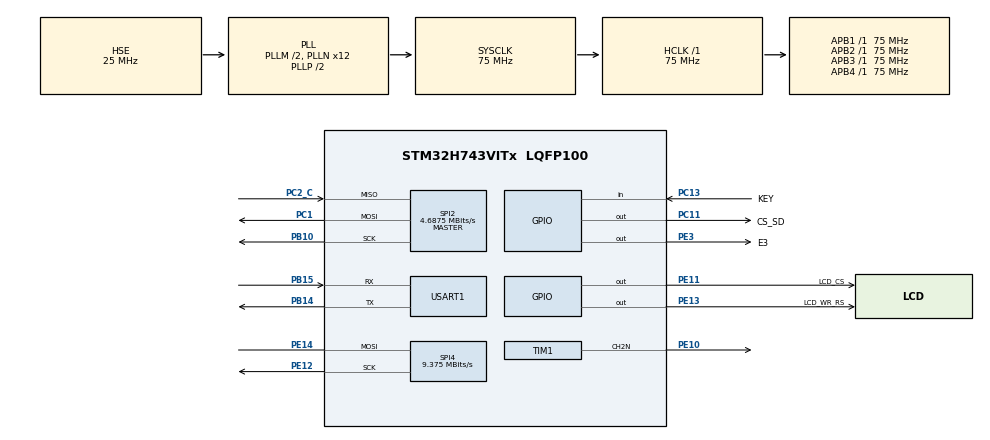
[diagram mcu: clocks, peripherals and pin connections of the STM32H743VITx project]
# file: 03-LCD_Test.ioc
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FATFS._MAX_SS=4096
FATFS._USE_LFN=1
Mcu.Family=STM32H7
Mcu.Name=STM32H743VITx
Mcu.Package=LQFP100
NVIC.PriorityGroup=NVIC_PRIORITYGROUP_4
NVIC.TIM2_IRQn=true\:0\:0\:false\:false\:true\:true\:true\:true
NVIC.USART1_IRQn=true\:0\:0\:false\:false\:true\:true\:true\:true
PA13\ (JTMS/SWDIO).Mode=Serial_Wire
PA13\ (JTMS/SWDIO).Signal=DEBUG_JTMS-SWDIO
PA14\ (JTCK/SWCLK).Mode=Serial_Wire
PA14\ (JTCK/SWCLK).Signal=DEBUG_JTCK-SWCLK
PB10.Mode=Full_Duplex_Master
PB10.Signal=SPI2_SCK
PB14.Mode=Asynchronous
PB14.Signal=USART1_TX
PB15.Mode=Asynchronous
PB15.Signal=USART1_RX
PC1.Mode=Full_Duplex_Master
PC1.Signal=SPI2_MOSI
PC11.GPIO_Label=CS_SD
PC11.GPIO_Speed=GPIO_SPEED_FREQ_MEDIUM
PC11.Signal=GPIO_Output
PC13.GPIO_Label=KEY
PC13.GPIO_PuPd=GPIO_PULLDOWN
PC13.Signal=GPIO_Input
PC14-OSC32_IN\ (OSC32_IN).Mode=LSE-External-Oscillator
PC14-OSC32_IN\ (OSC32_IN).Signal=RCC_OSC32_IN
PC15-OSC32_OUT\ (OSC32_OUT).Mode=LSE-External-Oscillator
PC15-OSC32_OUT\ (OSC32_OUT).Signal=RCC_OSC32_OUT
PC2_C.Mode=Full_Duplex_Master
PC2_C.Signal=SPI2_MISO
PE10.Mode=PWM Generation2 CH2N
PE10.Signal=TIM1_CH2N
PE11.GPIO_Label=LCD_CS
PE11.GPIO_Speed=GPIO_SPEED_FREQ_VERY_HIGH
PE11.PinState=GPIO_PIN_SET
PE11.Signal=GPIO_Output
PE12.GPIO_Speed=GPIO_SPEED_FREQ_HIGH
PE12.Mode=Simplex_Bidirectional_Master
PE12.Signal=SPI4_SCK
PE13.GPIO_Label=LCD_WR_RS
PE13.GPIO_Speed=GPIO_SPEED_FREQ_VERY_HIGH
PE13.PinState=GPIO_PIN_SET
PE13.Signal=GPIO_Output
PE14.GPIO_Speed=GPIO_SPEED_FREQ_HIGH
PE14.Mode=Simplex_Bidirectional_Master
PE14.Signal=SPI4_MOSI
PE3.GPIO_Label=E3
PE3.PinState=GPIO_PIN_RESET
PE3.Signal=GPIO_Output
PH0-OSC_IN\ (PH0).Mode=HSE-External-Oscillator
PH0-OSC_IN\ (PH0).Signal=RCC_OSC_IN
PH1-OSC_OUT\ (PH1).Mode=HSE-External-Oscillator
PH1-OSC_OUT\ (PH1).Signal=RCC_OSC_OUT
ProjectManager.HeapSize=0x200
ProjectManager.StackSize=0x400
ProjectManager.TargetToolchain=STM32CubeIDE
RCC.ADCFreq_Value=83333333.33333333
RCC.APB1Freq_Value=75000000
RCC.APB2Freq_Value=75000000
RCC.APB3Freq_Value=75000000
RCC.APB4Freq_Value=75000000
RCC.CortexFreq_Value=75000000
RCC.DIVM1=2
RCC.DIVM2=6
RCC.DIVN1=12
RCC.DIVN2=40
RCC.DIVQ2=1
RCC.HCLKFreq_Value=75000000
RCC.HSE_VALUE=25000000
RCC.PLLFRACN=0
RCC.PLLSourceVirtual=RCC_PLLSOURCE_HSE
RCC.PWR_Regulator_Voltage_Scale=PWR_REGULATOR_VOLTAGE_SCALE1
RCC.RTCClockSelection=RCC_RTCCLKSOURCE_LSE
RCC.SYSCLKFreq_VALUE=75000000
RCC.SYSCLKSource=RCC_SYSCLKSOURCE_PLLCLK
RCC.USBFreq_Value=75000000
RTC.Hours=12
RTC.Month=RTC_MONTH_JUNE
RTC.Year=20
SPI2.BaudRatePrescaler=SPI_BAUDRATEPRESCALER_16
SPI2.CalculateBaudRate=4.6875 MBits/s
SPI2.DataSize=SPI_DATASIZE_8BIT
SPI2.Direction=SPI_DIRECTION_2LINES
SPI2.Mode=SPI_MODE_MASTER
SPI2.VirtualType=VM_MASTER
SPI4.BaudRatePrescaler=SPI_BAUDRATEPRESCALER_8
SPI4.CalculateBaudRate=9.375 MBits/s
SPI4.DataSize=SPI_DATASIZE_8BIT
SPI4.Direction=SPI_DIRECTION_1LINE
SPI4.Mode=SPI_MODE_MASTER
SPI4.VirtualType=VM_MASTER
TIM1.Channel-PWM\ Generation2\ CH2N=TIM_CHANNEL_2
TIM1.OCNPolarity_2=TIM_OCNPOLARITY_LOW
TIM1.Period=1000-1
TIM1.Prescaler=12-1
TIM2.Period=10
TIM2.Prescaler=39999
USART1.VirtualMode-Asynchronous=VM_ASYNC
VP_FATFS_VS_Generic.Mode=User_defined
VP_RTC_VS_RTC_Activate.Mode=RTC_Enabled
VP_RTC_VS_RTC_Calendar.Mode=RTC_Calendar
VP_TIM2_VS_ClockSourceINT.Mode=Internal
board=custom

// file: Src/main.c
/* USER CODE BEGIN Header */
/**
  ******************************************************************************
  * @file           : main.c
  * @brief          : Main program body
  ******************************************************************************
  * @attention
  *
  * Copyright (c) 2023 STMicroelectronics.
  * All rights reserved.
  *
  * This software is licensed under terms that can be found in the LICENSE file
  * in the root directory of this software component.
  * If no LICENSE file comes with this software, it is provided AS-IS.
  *
  ******************************************************************************
  *
  * ToDo
  *
  * ---------------- jest:
  * SPI4 interfejs do LCD
  * PE12 SCK zielony
  * PE14 MOSI fioletowy
  * OLED CS: PE10 LCD_CS żółty nie jest to CS dla SPI!
  * Half Duplex -> tylko MOSI
  * ----------------
  * RS232 na USART1
  * PB14 TxD
  * PB15 RxD
  * ----------------------------------------------------
  * SPI2 - interfejs do testowania z kartą SD (urok 88):
  * --------------------------------------
  * podłączona karta SD z modułu na barana (mini stykówka z goldpinów na zewnątrz):
  * SPI2  |----------------|-> gniazdo SD|
  * PB10  |SCK zielony     -> PC12
  * PC2_C |MISO niebieski  -> PC8
  * PC1   |MOSI fioletowy  -> PD2
  * --------------------------------------
  * PC11  |CS żółty (CS_SD) niepotrzebna stykówka
  * ----------------------------------------------------
  * LED zamiast na PC13 jest na PE3 (na schemacie modułu dioda oznaczona jako E3 BLUE_LED)
  *
  */
/* USER CODE END Header */
#include "main.h"
#include "fatfs.h"
#include "rtc.h"
#include "spi.h"
#include "tim.h"
#include "usart.h"
#include "gpio.h"

/* USER CODE BEGIN Includes */
#include "lcd.h"
#include "sd.h"
/* USER CODE END Includes */

/* USER CODE BEGIN PV */
volatile uint16_t Timer1 = 0;
uint8_t sect[512];
extern char str1[60];
uint32_t byteswritten,bytesread;
uint8_t result;
extern char USER_Path[4]; /* logical drive path */
FATFS SDFatFs;
FATFS *fs;
FIL MyFile;
FRESULT fr;
FILINFO fno;

//char buffer1[512] ="Selection ... The..."; //Буфер данных для записи/чтения -> tylko do testu
/* USER CODE END PV */

void SystemClock_Config(void);

/* USER CODE BEGIN 0 */
FRESULT ReadLongFile(void)
{
  uint16_t i=0, i1=0;
  uint32_t ind=0;
  uint32_t f_size = fno.fsize;
	sprintf(str1, "fsize: %lu\r\n", (unsigned long) f_size);
	HAL_UART_Transmit(&huart1, (uint8_t*) str1, strlen(str1), 0x1000);
	ind = 0;
	do
	{
		if (f_size < 512)
		{
			i1 = f_size;
		}
		else
		{
			i1 = 512;
		}
		f_size -= i1;
		f_lseek(&MyFile, ind);
		f_read(&MyFile, sect, i1, (UINT*) &bytesread);
		for (i = 0; i < bytesread; i++)
		{
			HAL_UART_Transmit(&huart1, sect + i, 1, 0x1000);
		}
		ind += i1;
	}
	while (f_size > 0);
	HAL_UART_Transmit(&huart1, (uint8_t*) "\r\n", 2, 0x1000);
	return FR_OK;
}

static void MPU_Config(void)
{
  MPU_Region_InitTypeDef MPU_InitStruct = {0};

  /* Disables the MPU */
  HAL_MPU_Disable();

	/* Configure the MPU attributes for the QSPI 256MB without instruction access */
  MPU_InitStruct.Enable           = MPU_REGION_ENABLE;
  MPU_InitStruct.Number           = MPU_REGION_NUMBER0;
  MPU_InitStruct.BaseAddress      = QSPI_BASE;
  MPU_InitStruct.Size             = MPU_REGION_SIZE_256MB;
  MPU_InitStruct.AccessPermission = MPU_REGION_NO_ACCESS;
  MPU_InitStruct.IsBufferable     = MPU_ACCESS_NOT_BUFFERABLE;
  MPU_InitStruct.IsCacheable      = MPU_ACCESS_NOT_CACHEABLE;
  MPU_InitStruct.IsShareable      = MPU_ACCESS_NOT_SHAREABLE;
  MPU_InitStruct.DisableExec      = MPU_INSTRUCTION_ACCESS_DISABLE;
  MPU_InitStruct.TypeExtField     = MPU_TEX_LEVEL1;
  MPU_InitStruct.SubRegionDisable = 0x00;
  HAL_MPU_ConfigRegion(&MPU_InitStruct);

  /* Configure the MPU attributes for the QSPI 8MB (QSPI Flash Size) to Cacheable WT */
  MPU_InitStruct.Enable           = MPU_REGION_ENABLE;
  MPU_InitStruct.Number           = MPU_REGION_NUMBER1;
  MPU_InitStruct.BaseAddress      = QSPI_BASE;
  MPU_InitStruct.Size             = MPU_REGION_SIZE_8MB;
  MPU_InitStruct.AccessPermission = MPU_REGION_PRIV_RO;
  MPU_InitStruct.IsBufferable     = MPU_ACCESS_BUFFERABLE;
  MPU_InitStruct.IsCacheable      = MPU_ACCESS_CACHEABLE;
  MPU_InitStruct.IsShareable      = MPU_ACCESS_NOT_SHAREABLE;
  MPU_InitStruct.DisableExec      = MPU_INSTRUCTION_ACCESS_ENABLE;
  MPU_InitStruct.TypeExtField     = MPU_TEX_LEVEL1;
  MPU_InitStruct.SubRegionDisable = 0x00;
  HAL_MPU_ConfigRegion(&MPU_InitStruct);

  /* Enables the MPU */
  HAL_MPU_Enable(MPU_PRIVILEGED_DEFAULT);
}

static void CPU_CACHE_Enable(void)
{
  /* Enable I-Cache */
  SCB_EnableICache();

  /* Enable D-Cache */
  SCB_EnableDCache();
}

static void LED_Blink(uint32_t Hdelay,uint32_t Ldelay)
{
	HAL_GPIO_WritePin(E3_GPIO_Port,E3_Pin,GPIO_PIN_SET);
	HAL_Delay(Hdelay - 1);
	HAL_GPIO_WritePin(E3_GPIO_Port,E3_Pin,GPIO_PIN_RESET);
	HAL_Delay(Ldelay-1);
}

/**
  * @brief  Get the current time and date.
  * @param
  * @retval None
  */
static void RTC_CalendarShow(RTC_DateTypeDef *sdatestructureget,RTC_TimeTypeDef *stimestructureget)
{
  /* Both time and date must be obtained or RTC cannot be read next time */
  /* Get the RTC current Time */
  HAL_RTC_GetTime(&hrtc, stimestructureget, RTC_FORMAT_BIN);
  /* Get the RTC current Date */
  HAL_RTC_GetDate(&hrtc, sdatestructureget, RTC_FORMAT_BIN);
}

/* USER CODE END 0 */

int main(void)
{
  /* USER CODE BEGIN 1 */
	uint16_t i;

#ifdef W25Qxx
  SCB->VTOR = QSPI_BASE;
#endif
MPU_Config();
CPU_CACHE_Enable();

  /* USER CODE END 1 */

  /* MCU Configuration--------------------------------------------------------*/

  /* Reset of all peripherals, Initializes the Flash interface and the Systick. */
  HAL_Init();

  /* Configure the system clock */
  SystemClock_Config();

  /* Initialize all configured peripherals */
  MX_GPIO_Init();
  MX_RTC_Init();
  MX_SPI4_Init();
  MX_TIM1_Init();
  MX_SPI2_Init();
  MX_TIM2_Init();
  MX_USART1_UART_Init();
  MX_FATFS_Init();
  /* USER CODE BEGIN 2 */
  //	HAL_TIMEx_PWMN_Start(&htim1,TIM_CHANNEL_2);
  //	__HAL_TIM_SetCompare(&htim1,TIM_CHANNEL_2,10);
  	LCD_Test();
  	char str1[] = "hello urok 88\r\n";
  	HAL_UART_Transmit(&huart1,(uint8_t*)str1,strlen(str1),0x1000);
  	HAL_TIM_Base_Start_IT(&htim2);

  	disk_initialize(SDFatFs.drv);
	if (f_mount(&SDFatFs, (TCHAR const*) USERPath, 0) != FR_OK)
	{
		Error_Handler();
	}
	else
	{
		fr = f_stat("123.txt", &fno);
		if (f_open(&MyFile, "123.txt", FA_READ) != FR_OK)
		{
			Error_Handler();
		}
		else
		{
			ReadLongFile();
			f_close(&MyFile);
		}
	}

  	//SD_PowerOn();
  	//sd_ini();
  	// test zapisu i odczytu z SD:
  	//SD_Write_Block((uint8_t*)buffer1,0x0400); //Запи�?ем блок в б�?фер
  	//SD_Read_Block(sect,0x0400); //Считаем блок из б�?фера
  	//for(i=0;i<512;i++) HAL_UART_Transmit(&huart1,sect+i,1,0x1000);
  	//HAL_UART_Transmit(&huart1,(uint8_t*)"rn",2,0x1000);
  	// koniec testu

  /* USER CODE END 2 */

  /* Infinite loop */
  while (1)
  {

  }
}

void SystemClock_Config(void)
{
  RCC_OscInitTypeDef RCC_OscInitStruct = {0};
  RCC_ClkInitTypeDef RCC_ClkInitStruct = {0};

  /** Supply configuration update enable
  */
  HAL_PWREx_ConfigSupply(PWR_LDO_SUPPLY);

  /** Configure the main internal regulator output voltage
  */
  __HAL_PWR_VOLTAGESCALING_CONFIG(PWR_REGULATOR_VOLTAGE_SCALE1);

  while(!__HAL_PWR_GET_FLAG(PWR_FLAG_VOSRDY)) {}

  /** Configure LSE Drive Capability
  */
  HAL_PWR_EnableBkUpAccess();
  __HAL_RCC_LSEDRIVE_CONFIG(RCC_LSEDRIVE_LOW);

  /** Initializes the RCC Oscillators according to the specified parameters
  * in the RCC_OscInitTypeDef structure.
  */
  RCC_OscInitStruct.OscillatorType = RCC_OSCILLATORTYPE_HSE|RCC_OSCILLATORTYPE_LSE;
  RCC_OscInitStruct.HSEState = RCC_HSE_ON;
  RCC_OscInitStruct.LSEState = RCC_LSE_ON;
  RCC_OscInitStruct.PLL.PLLState = RCC_PLL_ON;
  RCC_OscInitStruct.PLL.PLLSource = RCC_PLLSOURCE_HSE;
  RCC_OscInitStruct.PLL.PLLM = 2;
  RCC_OscInitStruct.PLL.PLLN = 12;
  RCC_OscInitStruct.PLL.PLLP = 2;
  RCC_OscInitStruct.PLL.PLLQ = 2;
  RCC_OscInitStruct.PLL.PLLR = 2;
  RCC_OscInitStruct.PLL.PLLRGE = RCC_PLL1VCIRANGE_3;
  RCC_OscInitStruct.PLL.PLLVCOSEL = RCC_PLL1VCOMEDIUM;
  RCC_OscInitStruct.PLL.PLLFRACN = 0;
  if (HAL_RCC_OscConfig(&RCC_OscInitStruct) != HAL_OK)
  {
    Error_Handler();
  }

  /** Initializes the CPU, AHB and APB buses clocks
  */
  RCC_ClkInitStruct.ClockType = RCC_CLOCKTYPE_HCLK|RCC_CLOCKTYPE_SYSCLK
                              |RCC_CLOCKTYPE_PCLK1|RCC_CLOCKTYPE_PCLK2
                              |RCC_CLOCKTYPE_D3PCLK1|RCC_CLOCKTYPE_D1PCLK1;
  RCC_ClkInitStruct.SYSCLKSource = RCC_SYSCLKSOURCE_PLLCLK;
  RCC_ClkInitStruct.SYSCLKDivider = RCC_SYSCLK_DIV1;
  RCC_ClkInitStruct.AHBCLKDivider = RCC_HCLK_DIV1;
  RCC_ClkInitStruct.APB3CLKDivider = RCC_APB3_DIV1;
  RCC_ClkInitStruct.APB1CLKDivider = RCC_APB1_DIV1;
  RCC_ClkInitStruct.APB2CLKDivider = RCC_APB2_DIV1;
  RCC_ClkInitStruct.APB4CLKDivider = RCC_APB4_DIV1;

  if (HAL_RCC_ClockConfig(&RCC_ClkInitStruct, FLASH_LATENCY_1) != HAL_OK)
  {
    Error_Handler();
  }
}

/* USER CODE BEGIN 4 */
void HAL_TIM_PeriodElapsedCallback(TIM_HandleTypeDef *htim)
{
	if(htim==&htim2)
	{
		Timer1++;
	}
}
/* USER CODE END 4 */

void Error_Handler(void)
{
  __disable_irq();
  while (1)
  {
  }
}
